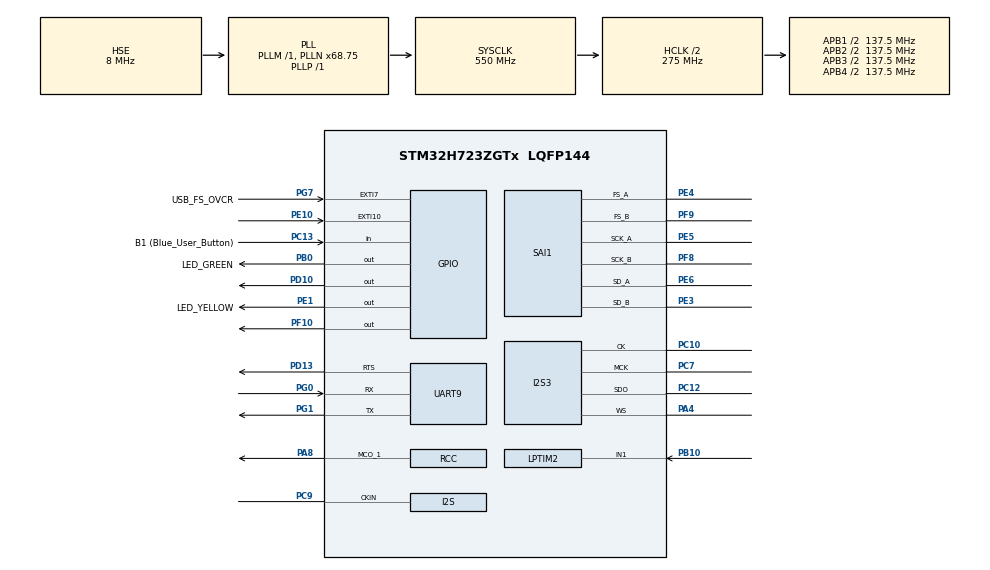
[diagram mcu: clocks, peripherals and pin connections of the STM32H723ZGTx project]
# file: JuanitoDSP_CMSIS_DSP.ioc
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Dma.Request0=SPI3_TX
Dma.Request1=SAI1_A
Dma.Request2=SAI1_B
Dma.SAI1_A.1.Direction=DMA_PERIPH_TO_MEMORY
Dma.SAI1_A.1.EventEnable=DISABLE
Dma.SAI1_A.1.FIFOMode=DMA_FIFOMODE_DISABLE
Dma.SAI1_A.1.Instance=DMA1_Stream2
Dma.SAI1_A.1.MemDataAlignment=DMA_MDATAALIGN_WORD
Dma.SAI1_A.1.MemInc=DMA_MINC_ENABLE
Dma.SAI1_A.1.Mode=DMA_CIRCULAR
Dma.SAI1_A.1.PeriphDataAlignment=DMA_PDATAALIGN_WORD
Dma.SAI1_A.1.PeriphInc=DMA_PINC_DISABLE
Dma.SAI1_A.1.Polarity=HAL_DMAMUX_REQ_GEN_RISING
Dma.SAI1_A.1.Priority=DMA_PRIORITY_HIGH
Dma.SAI1_A.1.RequestNumber=1
Dma.SAI1_A.1.SignalID=NONE
Dma.SAI1_A.1.SyncEnable=DISABLE
Dma.SAI1_A.1.SyncPolarity=HAL_DMAMUX_SYNC_NO_EVENT
Dma.SAI1_A.1.SyncRequestNumber=1
Dma.SAI1_A.1.SyncSignalID=NONE
Dma.SAI1_B.2.Direction=DMA_PERIPH_TO_MEMORY
Dma.SAI1_B.2.EventEnable=DISABLE
Dma.SAI1_B.2.FIFOMode=DMA_FIFOMODE_DISABLE
Dma.SAI1_B.2.Instance=DMA1_Stream1
Dma.SAI1_B.2.MemDataAlignment=DMA_MDATAALIGN_WORD
Dma.SAI1_B.2.MemInc=DMA_MINC_ENABLE
Dma.SAI1_B.2.Mode=DMA_CIRCULAR
Dma.SAI1_B.2.PeriphDataAlignment=DMA_PDATAALIGN_WORD
Dma.SAI1_B.2.PeriphInc=DMA_PINC_DISABLE
Dma.SAI1_B.2.Polarity=HAL_DMAMUX_REQ_GEN_RISING
Dma.SAI1_B.2.Priority=DMA_PRIORITY_HIGH
Dma.SAI1_B.2.RequestNumber=1
Dma.SAI1_B.2.SignalID=NONE
Dma.SAI1_B.2.SyncEnable=DISABLE
Dma.SAI1_B.2.SyncPolarity=HAL_DMAMUX_SYNC_NO_EVENT
Dma.SAI1_B.2.SyncRequestNumber=1
Dma.SAI1_B.2.SyncSignalID=NONE
Dma.SPI3_TX.0.Direction=DMA_MEMORY_TO_PERIPH
Dma.SPI3_TX.0.EventEnable=DISABLE
Dma.SPI3_TX.0.FIFOMode=DMA_FIFOMODE_DISABLE
Dma.SPI3_TX.0.Instance=DMA2_Stream0
Dma.SPI3_TX.0.MemDataAlignment=DMA_MDATAALIGN_HALFWORD
Dma.SPI3_TX.0.MemInc=DMA_MINC_ENABLE
Dma.SPI3_TX.0.Mode=DMA_CIRCULAR
Dma.SPI3_TX.0.PeriphDataAlignment=DMA_PDATAALIGN_HALFWORD
Dma.SPI3_TX.0.PeriphInc=DMA_PINC_DISABLE
Dma.SPI3_TX.0.Polarity=HAL_DMAMUX_REQ_GEN_RISING
Dma.SPI3_TX.0.Priority=DMA_PRIORITY_LOW
Dma.SPI3_TX.0.RequestNumber=1
Dma.SPI3_TX.0.SignalID=NONE
Dma.SPI3_TX.0.SyncEnable=DISABLE
Dma.SPI3_TX.0.SyncPolarity=HAL_DMAMUX_SYNC_NO_EVENT
Dma.SPI3_TX.0.SyncRequestNumber=1
Dma.SPI3_TX.0.SyncSignalID=NONE
I2S3.AudioFreq=I2S_AUDIOFREQ_48K
I2S3.AudioFreqCustom=49000
I2S3.DataFormat=I2S_DATAFORMAT_16B
I2S3.ErrorAudioFreq=0.0 %
I2S3.Instance=SPI$Index
I2S3.RealAudioFreq=48.0 KHz
I2S3.Standard=I2S_STANDARD_MSB
Mcu.Family=STM32H7
Mcu.Name=STM32H723ZGTx
Mcu.Package=LQFP144
NVIC.DMA1_Stream1_IRQn=true\:1\:0\:true\:false\:true\:false\:true\:true
NVIC.DMA2_Stream0_IRQn=true\:1\:0\:true\:false\:true\:false\:true\:true
NVIC.PriorityGroup=NVIC_PRIORITYGROUP_4
NVIC.UART9_IRQn=true\:0\:0\:false\:false\:true\:true\:true\:true
PA1.GPIO_Label=RMII_REF_CLK
PA1.Signal=ETH_REF_CLK
PA10.GPIO_Label=USB_FS_ID
PA10.Signal=USB_OTG_HS_ID
PA13(JTMS/SWDIO).GPIO_Label=SWDIO
PA13(JTMS/SWDIO).Mode=JTAG_5_pins
PA13(JTMS/SWDIO).Signal=DEBUG_JTMS-SWDIO
PA14(JTCK/SWCLK).GPIO_Label=SWCLK
PA14(JTCK/SWCLK).Mode=JTAG_5_pins
PA14(JTCK/SWCLK).Signal=DEBUG_JTCK-SWCLK
PA15(JTDI).Mode=JTAG_5_pins
PA15(JTDI).Signal=DEBUG_JTDI
PA2.GPIO_Label=RMII_MDIO
PA2.Signal=ETH_MDIO
PA4.Mode=Half_Duplex_Master_Tx
PA4.Signal=I2S3_WS
PA6.Signal=S_TIM3_CH1
PA7.GPIO_Label=RMII_CRS_DV
PA7.Signal=ETH_CRS_DV
PA8.Mode=Clock-out-1
PA8.Signal=RCC_MCO_1
PA9.GPIO_Label=USB_FS_VBUS
PA9.Signal=USB_OTG_HS_VBUS
PB0.GPIO_Label=LED_GREEN
PB0.GPIO_Speed=GPIO_SPEED_FREQ_LOW
PB0.Signal=GPIO_Output
PB10.Mode=Counts_external_clock_with_synchro_01_occur1
PB10.Signal=LPTIM2_IN1
PB13.Signal=I2S2_CK
PB14.Signal=I2S2_SDI
PB3(JTDO/TRACESWO).GPIO_Label=SWO
PB3(JTDO/TRACESWO).Mode=JTAG_5_pins
PB3(JTDO/TRACESWO).Signal=DEBUG_JTDO-SWO
PB4(NJTRST).Mode=JTAG_5_pins
PB4(NJTRST).Signal=DEBUG_JTRST
PC1.GPIO_Label=RMII_MDC
PC1.Signal=ETH_MDC
PC10.Mode=Half_Duplex_Master_Tx
PC10.Signal=I2S3_CK
PC12.Mode=Half_Duplex_Master_Tx
PC12.Signal=I2S3_SDO
PC13.GPIO_Label=B1 (Blue_User_Button)
PC13.Signal=GPIO_Input
PC14-OSC32_IN.Signal=RCC_OSC32_IN
PC15-OSC32_OUT.Signal=RCC_OSC32_OUT
PC4.Signal=I2S1_MCK
PC5.GPIO_Label=RMII_RXD1
PC5.Signal=ETH_RXD1
PC7.Mode=Master_Clock_Activated
PC7.Signal=I2S3_MCK
PC9.Mode=Audio_ClockIn
PC9.Signal=I2S_CKIN
PD10.Signal=GPIO_Output
PD13.Mode=RTS_Only
PD13.Signal=UART9_RTS
PD8.GPIO_Label=STLK_VCP_RX
PD8.Signal=USART3_TX
PD9.GPIO_Label=STLK_VCP_TX
PD9.Signal=USART3_RX
PE1.GPIO_Label=LED_YELLOW
PE1.Signal=GPIO_Output
PE10.Signal=GPXTI10
PE3.Mode=SAI_B_Master
PE3.Signal=SAI1_SD_B
PE4.Mode=SAI_A_Master
PE4.Signal=SAI1_FS_A
PE5.Mode=SAI_A_Master
PE5.Signal=SAI1_SCK_A
PE6.Mode=SAI_A_Master
PE6.Signal=SAI1_SD_A
PF10.Signal=GPIO_Output
PF8.Mode=SAI_B_Master
PF8.Signal=SAI1_SCK_B
PF9.Mode=SAI_B_Master
PF9.Signal=SAI1_FS_B
PG0.Mode=Asynchronous
PG0.Signal=UART9_RX
PG1.Mode=Asynchronous
PG1.Signal=UART9_TX
PG11.Signal=I2S1_CK
PG13.GPIO_Label=RMII_TXD0
PG13.Signal=ETH_TXD0
PG7.GPIO_Label=USB_FS_OVCR
PG7.Signal=GPXTI7
PG9.Signal=I2S1_SDI
PH0-OSC_IN.GPIO_Label=MCO
PH0-OSC_IN.Mode=HSE-External-Oscillator
PH0-OSC_IN.Signal=RCC_OSC_IN
PH1-OSC_OUT.Mode=HSE-External-Oscillator
PH1-OSC_OUT.Signal=RCC_OSC_OUT
ProjectManager.HeapSize=0x200
ProjectManager.StackSize=0x400
ProjectManager.TargetToolchain=STM32CubeIDE
RCC.ADCCLockSelection=RCC_ADCCLKSOURCE_PLL2
RCC.ADCFreq_Value=128000000
RCC.APB1Freq_Value=137500000
RCC.APB2Freq_Value=137500000
RCC.APB3Freq_Value=137500000
RCC.APB4Freq_Value=137500000
RCC.CECCLockSelection=RCC_CECCLKSOURCE_LSI
RCC.CSI_VALUE=4000000
RCC.CortexFreq_Value=550000000
RCC.Cortex_DivARG=SystemCoreClock/1000
RCC.D1PPRE=RCC_APB3_DIV2
RCC.D2PPRE1=RCC_APB1_DIV2
RCC.D2PPRE2=RCC_APB2_DIV2
RCC.D3PPRE=RCC_APB4_DIV2
RCC.DFSDMCLockSelection=RCC_DFSDM1CLKSOURCE_D2PCLK1
RCC.DIVM1=1
RCC.DIVM2=1
RCC.DIVM3=5
RCC.DIVN1=68
RCC.DIVN2=32
RCC.DIVN3=192
RCC.DIVP1=1
RCC.DIVP3=25
RCC.DIVQ1=3
RCC.DIVQ3=25
RCC.EXTERNAL_CLOCK_VALUE=12288000
RCC.FDCANCLockSelection=RCC_FDCANCLKSOURCE_PLL
RCC.FMCCLockSelection=RCC_FMCCLKSOURCE_D1HCLK
RCC.HCLKFreq_Value=275000000
RCC.HPRE=RCC_HCLK_DIV2
RCC.HSE_VALUE=8000000
RCC.HSI48_VALUE=48000000
RCC.HSI_VALUE=64000000
RCC.I2C123CLockSelection=RCC_I2C1235CLKSOURCE_D2PCLK1
RCC.I2C4CLockSelection=RCC_I2C4CLKSOURCE_D3PCLK1
RCC.LPTIM1CLockSelection=RCC_LPTIM1CLKSOURCE_D2PCLK1
RCC.LPTIM2CLockSelection=RCC_LPTIM2CLKSOURCE_D3PCLK1
RCC.LPTIM345CLockSelection=RCC_LPTIM345CLKSOURCE_D3PCLK1
RCC.LPUART1CLockSelection=RCC_LPUART1CLKSOURCE_D3PCLK1
RCC.PLL1_VCO_SEL-AdvancedSettings=RCC_PLL1VCOMEDIUM
RCC.PLL2FRACN=0
RCC.PLL2_VCO_SEL-AdvancedSettings=RCC_PLL2VCOMEDIUM
RCC.PLL3FRACN=0
RCC.PLLFRACN=6144
RCC.PLLSourceVirtual=RCC_PLLSOURCE_HSE
RCC.QSPICLockSelection=RCC_OSPICLKSOURCE_D1HCLK
RCC.RCC_MCO1Source=RCC_MCO1SOURCE_HSI48
RCC.RCC_MCO2Source=RCC_MCO2SOURCE_PLL2PCLK
RCC.RCC_MCODiv2=RCC_MCODIV_10
RCC.RNGCLockSelection=RCC_RNGCLKSOURCE_HSI48
RCC.SAI1CLockSelection=RCC_SAI1CLKSOURCE_PIN
RCC.SAI4ACLockSelection=RCC_SAI4ACLKSOURCE_PLL3
RCC.SAI4BCLockSelection=RCC_SAI4BCLKSOURCE_PLL
RCC.SPDIFCLockSelection=RCC_SPDIFRXCLKSOURCE_PLL
RCC.SPI123CLockSelection=RCC_SPI123CLKSOURCE_PIN
RCC.SPI6CLockSelection=RCC_SPI6CLKSOURCE_PLL3
RCC.SWPCLockSelection=RCC_SWPMI1CLKSOURCE_D2PCLK1
RCC.SYSCLKFreq_VALUE=550000000
RCC.SYSCLKSource=RCC_SYSCLKSOURCE_PLLCLK
RCC.Spi45ClockSelection=RCC_SPI45CLKSOURCE_D2PCLK1
RCC.USART16CLockSelection=RCC_USART16910CLKSOURCE_D2PCLK2
RCC.USART234578CLockSelection=RCC_USART234578CLKSOURCE_D2PCLK1
RCC.USBCLockSelection=RCC_USBCLKSOURCE_HSI48
RCC.USBFreq_Value=48000000
SAI1.AudioFrequency-SAI_A_Master=SAI_AUDIO_FREQUENCY_48K
SAI1.AudioFrequency-SAI_B_Master=SAI_AUDIO_FREQUENCY_48K
SAI1.AudioMode-SAI_A_Master=SAI_MODEMASTER_RX
SAI1.AudioMode-SAI_B_Master=SAI_MODEMASTER_RX
SAI1.BasicDataSize-SAI_A_Master=SAI_PROTOCOL_DATASIZE_32BIT
SAI1.BasicDataSize-SAI_B_Master=SAI_PROTOCOL_DATASIZE_32BIT
SAI1.ErrorAudioFreq-SAI_A_Master=0.0 %
SAI1.ErrorAudioFreq-SAI_B_Master=0.0 %
SAI1.InitProtocol-SAI_A_Master=Enable
SAI1.InitProtocol-SAI_B_Master=Enable
SAI1.Instance-SAI_A_Master=SAI$Index_Block_A
SAI1.Instance-SAI_B_Master=SAI$Index_Block_B
SAI1.MckOutput-SAI_A_Master=SAI_MCK_OUTPUT_DISABLE
SAI1.MckOutput-SAI_B_Master=SAI_MCK_OUTPUT_DISABLE
SAI1.RealAudioFreq-SAI_A_Master=48.0 KHz
SAI1.RealAudioFreq-SAI_B_Master=48.0 KHz
SAI1.VirtualMode-SAI_A_Master=VM_MASTER
SAI1.VirtualMode-SAI_B_Master=VM_MASTER
SAI1.VirtualProtocol-SAI_A_BASIC=VM_BASIC_PROTOCOL
SAI1.VirtualProtocol-SAI_B_BASIC=VM_BASIC_PROTOCOL
SH.S_TIM3_CH1.0=TIM3_CH1
STMicroelectronics.X-CUBE-ALGOBUILD.1.3.0.LibraryCcDSPOoLibraryJjDSPOoLibrary=true
VP_MEMORYMAP_VS_MEMORYMAP.Mode=CurAppReg
VP_SAI1_VP_$IpInstance_SAIA_SAI_BASIC.Mode=SAI_A_BASIC
VP_SAI1_VP_$IpInstance_SAIB_SAI_BASIC.Mode=SAI_B_BASIC
VP_STMicroelectronics.X-CUBE-ALGOBUILD_VS_DSPOoLibraryJjLibrary_1.3.0_1.3.0.Mode=DSPOoLibraryJjLibrary
board=NUCLEO-H723ZG

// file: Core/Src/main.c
/* USER CODE BEGIN Header */
/**
  ******************************************************************************
  * @file           : main.c
  * @brief          : Main program body
  ******************************************************************************
  * @attention
  *
  * Copyright (c) 2023 STMicroelectronics.
  * All rights reserved.
  *
  * This software is licensed under terms that can be found in the LICENSE file
  * in the root directory of this software component.
  * If no LICENSE file comes with this software, it is provided AS-IS.
  *
  ******************************************************************************
  */
/* USER CODE END Header */
#include "main.h"

/* USER CODE BEGIN Includes */
#include <stdint.h>
#include <stdio.h>
#include <limits.h>
#include "bluetooth.h"
#ifndef DSP_H
#include "dsp.h"
#endif
#ifndef GLOBAL_H
#include "global.h"
#endif

// #include "arm_math.h"

/* USER CODE END Includes */

/* USER CODE BEGIN PD */
#define BUF_BEGIN 0
#define BUF_HALF (BUFFER_SIZE/2)
#define TIMER_RES 8 // Timer events per sample (resolution)
#define HEALTH_CHECK_PERIOD 200
/* USER CODE END PD */

/* USER CODE BEGIN PM */
#define SET_TO_RAMD2   __attribute__ ((section (".RAMD2_data")))
#define SET_TO_ITCMRAM __attribute__ ((section (".ITCMRAM_data")))
#define SET_TO_DTCMRAM __attribute__ ((section (".DTCMRAM_data")))
/* USER CODE END PM */

I2S_HandleTypeDef hi2s3;
DMA_HandleTypeDef hdma_spi3_tx;

LPTIM_HandleTypeDef hlptim2;

SAI_HandleTypeDef hsai_BlockA1;
SAI_HandleTypeDef hsai_BlockB1;
DMA_HandleTypeDef hdma_sai1_a;
DMA_HandleTypeDef hdma_sai1_b;

UART_HandleTypeDef huart9;

/* USER CODE BEGIN PV */

typedef union // Union for mixed-type buffers
{
  float f32;
  int16_t q15;
  int32_t q31;
} tUnionBuf;

static enum
{
  INPUT0 = 0,
  INPUT1 = 1,
  INPUT2 = 2,
  INPUT3 = 3
}inputID;

static enum
{
  OUTPUT0 = 0,
  OUTPUT1 = 1,
  OUTPUT2 = 2,
  OUTPUT3 = 3
}outputID;

// ****************** INPUT, OUTPUT AND PROCESSING BUFFERS *********************
static int32_t input[INPUT_QUANTITY][BUFFER_SIZE*2] SET_TO_RAMD2;  //  IN buffer (Stereo PCM)
static int16_t output[OUTPUT_QUANTITY][BUFFER_SIZE*2] SET_TO_RAMD2;//  OUT buffer (Stereo PCM)
static tUnionBuf general[MAX_CHANNELS][BUFFER_SIZE] SET_TO_ITCMRAM;//  General channels (MONO)

// ***************** Convolution instances *************************************
static tConvq15 convq15[MAX_CONV] SET_TO_DTCMRAM;

// ***************** FIR instances *********************************************
static tFIRf32 FIRf32[MAX_FILTERS] SET_TO_DTCMRAM;
static tFIRq15 FIRq15[MAX_FILTERS] SET_TO_DTCMRAM;

// ***************** FIR arm_math.h instances **********************************
static arm_fir_instance_f32 insFIRf32[MAX_FILTERS] SET_TO_DTCMRAM;
static arm_fir_instance_q15 insFIRq15[MAX_FILTERS] SET_TO_DTCMRAM;

// ***************** Anti saturation pre-IIR gain ******************************
static tGain normGain[MAX_CHANNELS] SET_TO_DTCMRAM;

// ***************** IIR 2nd order biquads *************************************
static tIIRf32 IIRf32[MAX_FILTERS] SET_TO_DTCMRAM;    // IIR 2nd order instance
static tIIRq15 IIRq15[MAX_FILTERS] SET_TO_DTCMRAM;    // IIR 2nd order instance
static tIIRq31 IIRq31[MAX_FILTERS] SET_TO_DTCMRAM;    // IIR 2nd order instance
static tFilterConfig filterConfig[MAX_FILTERS]; // IIR 2nd order config params

// ************** IIR arm_math.h 2nd order biquads pointer instance ************
static arm_biquad_cascade_df2T_instance_f32 insIIRf32[MAX_FILTERS] SET_TO_DTCMRAM;
static arm_biquad_casd_df1_inst_q15 insIIRq15[MAX_FILTERS] SET_TO_DTCMRAM;
static arm_biquad_casd_df1_inst_q31 insIIRq31[MAX_FILTERS] SET_TO_DTCMRAM;

// ***************** BT module UART buffers & variables ************************
static SET_TO_DTCMRAM char uartRx[UART_CHUNK_SIZE];
static SET_TO_DTCMRAM char uartTx[UART_CHUNK_SIZE];
static SET_TO_DTCMRAM char *pUartRx = &uartRx[0];
static SET_TO_DTCMRAM tUartSt uartSt;
static SET_TO_DTCMRAM uint16_t bytesToCpltUartRx = 0;

static struct
{
  uint16_t len;
  tRxCommand command;
} msg;

static enum
{
  WAIT_RX,
  NEW_MSG,
  SENDING
} uartFSM;

static enum
{
  WAITING,
  FINISHED
} uartRxCpltFlag, uartTxCpltFlag;

// ********************** APP LOGIC STATE VARIABLES ****************************
static SET_TO_DTCMRAM tErrorCode appError;
static SET_TO_DTCMRAM uint8_t filterConfigFlag = 0; // 0 = configured, 1 = new config received
static SET_TO_DTCMRAM uint16_t timerCount = 0;   // Performance monitor timer
static SET_TO_DTCMRAM float cpuUsage = 0;        // CPU real-time usage (%)
static uint8_t cpuOverload = 0;   // Active when processing couldnt be completed in time
static SET_TO_DTCMRAM uint16_t nSamples = BUF_HALF;
static SET_TO_DTCMRAM uint16_t bufSize = BUFFER_SIZE;
static SET_TO_DTCMRAM uint16_t healthCheckCounter = 0;

static enum
{
  EMPTY,
  HALF_FULL,
  FULL
}inputBufCplt; // STATES OF AUDIO PROCESSING FINITE STATE MACHINE

// *****************************************************************************

/* USER CODE END PV */

void SystemClock_Config(void);
static void MX_GPIO_Init(void);
static void MX_DMA_Init(void);
static void MX_I2S3_Init(void);
static void MX_SAI1_Init(void);
static void MX_UART9_Init(void);
static void MX_LPTIM2_Init(void);
/* USER CODE BEGIN PFP */
static tErrorCode AppInit(void);
static void CacheInit(void);
static tErrorCode CheckParams(void);
static tErrorCode ProcessData(void);
static tErrorCode CheckConfig(void);
static tErrorCode ManageUART(void);
static tErrorCode CheckSysHealth(void);
/* USER CODE END PFP */

int main(void)
{

  /* MCU Configuration--------------------------------------------------------*/

  /* Reset of all peripherals, Initializes the Flash interface and the Systick. */
  HAL_Init();

  /* Configure the system clock */
  SystemClock_Config();

  /* USER CODE BEGIN SysInit */
  AppInit();
  DSP_TestFilters(filterConfig);
  CacheInit();

  /* USER CODE END SysInit */

  /* Initialize all configured peripherals */
  MX_GPIO_Init();
  MX_DMA_Init();
  MX_I2S3_Init();
  MX_SAI1_Init();
  MX_UART9_Init();
  MX_LPTIM2_Init();
  /* USER CODE BEGIN 2 */
    // **************** Init DMA for audio IOs *********************************
    // Wired input
    HAL_SAI_Receive_DMA(&hsai_BlockB1, (uint8_t*) &input[INPUT0][BUF_BEGIN],
                        BUFFER_SIZE * 2);
    // Bluetooth input
    HAL_SAI_Receive_DMA(&hsai_BlockA1, (uint8_t*) &input[INPUT1][BUF_BEGIN],
                        BUFFER_SIZE * 2);
    // Wired output
    HAL_I2S_Transmit_DMA(&hi2s3, (uint16_t*) &output[OUTPUT0][BUF_BEGIN],
                         BUFFER_SIZE * 2);

    // **************** INIT UART AND BT COMMUNICATION *************************
    HAL_UARTEx_ReceiveToIdle_IT(&huart9, (uint8_t*)uartRx, UART_CHUNK_SIZE);
    // BT_Init(); // Initialize BT communication

    // **************** INIT TIMER COUNTER FOR CPU USAGE MONITOR ***************
    HAL_LPTIM_Counter_Start(&hlptim2, TIMER_RES * BUF_HALF);

    // **************** INIT APP STATE VARIABLES *******************************
    if (RES_OK != AppInit()) goto error;

  /* USER CODE END 2 */

  /* Infinite loop */
  /* USER CODE BEGIN WHILE */
    while (1)
    {
      if (RES_OK != ManageUART())     goto error;
      if (RES_OK != CheckConfig())    goto error;
      if (RES_OK != CheckSysHealth()) goto error;
      if (RES_OK != ProcessData())    goto error;
    }
    /* USER CODE END WHILE */

    /* USER CODE BEGIN 3 */
    error:
      Error_Handler();
  /* USER CODE END 3 */
}

void SystemClock_Config(void)
{
  RCC_OscInitTypeDef RCC_OscInitStruct = {0};
  RCC_ClkInitTypeDef RCC_ClkInitStruct = {0};

  /** Supply configuration update enable
  */
  HAL_PWREx_ConfigSupply(PWR_LDO_SUPPLY);

  /** Configure the main internal regulator output voltage
  */
  __HAL_PWR_VOLTAGESCALING_CONFIG(PWR_REGULATOR_VOLTAGE_SCALE0);

  while(!__HAL_PWR_GET_FLAG(PWR_FLAG_VOSRDY)) {}

  /** Initializes the RCC Oscillators according to the specified parameters
  * in the RCC_OscInitTypeDef structure.
  */
  RCC_OscInitStruct.OscillatorType = RCC_OSCILLATORTYPE_HSI48|RCC_OSCILLATORTYPE_HSE;
  RCC_OscInitStruct.HSEState = RCC_HSE_ON;
  RCC_OscInitStruct.HSI48State = RCC_HSI48_ON;
  RCC_OscInitStruct.PLL.PLLState = RCC_PLL_ON;
  RCC_OscInitStruct.PLL.PLLSource = RCC_PLLSOURCE_HSE;
  RCC_OscInitStruct.PLL.PLLM = 1;
  RCC_OscInitStruct.PLL.PLLN = 68;
  RCC_OscInitStruct.PLL.PLLP = 1;
  RCC_OscInitStruct.PLL.PLLQ = 3;
  RCC_OscInitStruct.PLL.PLLR = 2;
  RCC_OscInitStruct.PLL.PLLRGE = RCC_PLL1VCIRANGE_3;
  RCC_OscInitStruct.PLL.PLLVCOSEL = RCC_PLL1VCOWIDE;
  RCC_OscInitStruct.PLL.PLLFRACN = 6144;
  if (HAL_RCC_OscConfig(&RCC_OscInitStruct) != HAL_OK)
  {
    Error_Handler();
  }

  /** Initializes the CPU, AHB and APB buses clocks
  */
  RCC_ClkInitStruct.ClockType = RCC_CLOCKTYPE_HCLK|RCC_CLOCKTYPE_SYSCLK
                              |RCC_CLOCKTYPE_PCLK1|RCC_CLOCKTYPE_PCLK2
                              |RCC_CLOCKTYPE_D3PCLK1|RCC_CLOCKTYPE_D1PCLK1;
  RCC_ClkInitStruct.SYSCLKSource = RCC_SYSCLKSOURCE_PLLCLK;
  RCC_ClkInitStruct.SYSCLKDivider = RCC_SYSCLK_DIV1;
  RCC_ClkInitStruct.AHBCLKDivider = RCC_HCLK_DIV2;
  RCC_ClkInitStruct.APB3CLKDivider = RCC_APB3_DIV2;
  RCC_ClkInitStruct.APB1CLKDivider = RCC_APB1_DIV2;
  RCC_ClkInitStruct.APB2CLKDivider = RCC_APB2_DIV2;
  RCC_ClkInitStruct.APB4CLKDivider = RCC_APB4_DIV2;

  if (HAL_RCC_ClockConfig(&RCC_ClkInitStruct, FLASH_LATENCY_3) != HAL_OK)
  {
    Error_Handler();
  }
  HAL_RCC_MCOConfig(RCC_MCO1, RCC_MCO1SOURCE_HSI48, RCC_MCODIV_1);
}

static void MX_I2S3_Init(void)
{

  hi2s3.Instance = SPI3;
  hi2s3.Init.Mode = I2S_MODE_MASTER_TX;
  hi2s3.Init.Standard = I2S_STANDARD_MSB;
  hi2s3.Init.DataFormat = I2S_DATAFORMAT_16B;
  hi2s3.Init.MCLKOutput = I2S_MCLKOUTPUT_ENABLE;
  hi2s3.Init.AudioFreq = I2S_AUDIOFREQ_48K;
  hi2s3.Init.CPOL = I2S_CPOL_LOW;
  hi2s3.Init.FirstBit = I2S_FIRSTBIT_MSB;
  hi2s3.Init.WSInversion = I2S_WS_INVERSION_DISABLE;
  hi2s3.Init.Data24BitAlignment = I2S_DATA_24BIT_ALIGNMENT_RIGHT;
  hi2s3.Init.MasterKeepIOState = I2S_MASTER_KEEP_IO_STATE_DISABLE;
  if (HAL_I2S_Init(&hi2s3) != HAL_OK)
  {
    Error_Handler();
  }

}

static void MX_LPTIM2_Init(void)
{

  hlptim2.Instance = LPTIM2;
  hlptim2.Init.Clock.Source = LPTIM_CLOCKSOURCE_APBCLOCK_LPOSC;
  hlptim2.Init.Clock.Prescaler = LPTIM_PRESCALER_DIV1;
  hlptim2.Init.UltraLowPowerClock.Polarity = LPTIM_CLOCKPOLARITY_RISING;
  hlptim2.Init.UltraLowPowerClock.SampleTime = LPTIM_CLOCKSAMPLETIME_DIRECTTRANSITION;
  hlptim2.Init.Trigger.Source = LPTIM_TRIGSOURCE_SOFTWARE;
  hlptim2.Init.OutputPolarity = LPTIM_OUTPUTPOLARITY_HIGH;
  hlptim2.Init.UpdateMode = LPTIM_UPDATE_IMMEDIATE;
  hlptim2.Init.CounterSource = LPTIM_COUNTERSOURCE_EXTERNAL;
  hlptim2.Init.Input1Source = LPTIM_INPUT1SOURCE_GPIO;
  hlptim2.Init.Input2Source = LPTIM_INPUT2SOURCE_GPIO;
  if (HAL_LPTIM_Init(&hlptim2) != HAL_OK)
  {
    Error_Handler();
  }

}

static void MX_SAI1_Init(void)
{

  hsai_BlockA1.Instance = SAI1_Block_A;
  hsai_BlockA1.Init.AudioMode = SAI_MODEMASTER_RX;
  hsai_BlockA1.Init.Synchro = SAI_ASYNCHRONOUS;
  hsai_BlockA1.Init.OutputDrive = SAI_OUTPUTDRIVE_DISABLE;
  hsai_BlockA1.Init.NoDivider = SAI_MASTERDIVIDER_ENABLE;
  hsai_BlockA1.Init.FIFOThreshold = SAI_FIFOTHRESHOLD_EMPTY;
  hsai_BlockA1.Init.AudioFrequency = SAI_AUDIO_FREQUENCY_48K;
  hsai_BlockA1.Init.SynchroExt = SAI_SYNCEXT_DISABLE;
  hsai_BlockA1.Init.MonoStereoMode = SAI_STEREOMODE;
  hsai_BlockA1.Init.CompandingMode = SAI_NOCOMPANDING;
  if (HAL_SAI_InitProtocol(&hsai_BlockA1, SAI_I2S_STANDARD, SAI_PROTOCOL_DATASIZE_32BIT, 2) != HAL_OK)
  {
    Error_Handler();
  }
  hsai_BlockB1.Instance = SAI1_Block_B;
  hsai_BlockB1.Init.AudioMode = SAI_MODEMASTER_RX;
  hsai_BlockB1.Init.Synchro = SAI_ASYNCHRONOUS;
  hsai_BlockB1.Init.OutputDrive = SAI_OUTPUTDRIVE_DISABLE;
  hsai_BlockB1.Init.NoDivider = SAI_MASTERDIVIDER_ENABLE;
  hsai_BlockB1.Init.FIFOThreshold = SAI_FIFOTHRESHOLD_EMPTY;
  hsai_BlockB1.Init.AudioFrequency = SAI_AUDIO_FREQUENCY_48K;
  hsai_BlockB1.Init.SynchroExt = SAI_SYNCEXT_DISABLE;
  hsai_BlockB1.Init.MonoStereoMode = SAI_STEREOMODE;
  hsai_BlockB1.Init.CompandingMode = SAI_NOCOMPANDING;
  if (HAL_SAI_InitProtocol(&hsai_BlockB1, SAI_I2S_STANDARD, SAI_PROTOCOL_DATASIZE_32BIT, 2) != HAL_OK)
  {
    Error_Handler();
  }

}

static void MX_UART9_Init(void)
{

  huart9.Instance = UART9;
  huart9.Init.BaudRate = 115200;
  huart9.Init.WordLength = UART_WORDLENGTH_8B;
  huart9.Init.StopBits = UART_STOPBITS_1;
  huart9.Init.Parity = UART_PARITY_NONE;
  huart9.Init.Mode = UART_MODE_TX_RX;
  huart9.Init.HwFlowCtl = UART_HWCONTROL_RTS;
  huart9.Init.OverSampling = UART_OVERSAMPLING_16;
  huart9.Init.OneBitSampling = UART_ONE_BIT_SAMPLE_DISABLE;
  huart9.Init.ClockPrescaler = UART_PRESCALER_DIV1;
  huart9.AdvancedInit.AdvFeatureInit = UART_ADVFEATURE_NO_INIT;
  if (HAL_UART_Init(&huart9) != HAL_OK)
  {
    Error_Handler();
  }
  if (HAL_UARTEx_SetTxFifoThreshold(&huart9, UART_TXFIFO_THRESHOLD_1_8) != HAL_OK)
  {
    Error_Handler();
  }
  if (HAL_UARTEx_SetRxFifoThreshold(&huart9, UART_RXFIFO_THRESHOLD_1_8) != HAL_OK)
  {
    Error_Handler();
  }
  if (HAL_UARTEx_DisableFifoMode(&huart9) != HAL_OK)
  {
    Error_Handler();
  }

}

static void MX_DMA_Init(void)
{

  /* DMA controller clock enable */
  __HAL_RCC_DMA2_CLK_ENABLE();
  __HAL_RCC_DMA1_CLK_ENABLE();

  /* DMA interrupt init */
  /* DMA1_Stream1_IRQn interrupt configuration */
  HAL_NVIC_SetPriority(DMA1_Stream1_IRQn, 1, 0);
  HAL_NVIC_EnableIRQ(DMA1_Stream1_IRQn);
  /* DMA2_Stream0_IRQn interrupt configuration */
  HAL_NVIC_SetPriority(DMA2_Stream0_IRQn, 1, 0);
  HAL_NVIC_EnableIRQ(DMA2_Stream0_IRQn);

}

static void MX_GPIO_Init(void)
{
  GPIO_InitTypeDef GPIO_InitStruct = {0};

  /* GPIO Ports Clock Enable */
  __HAL_RCC_GPIOE_CLK_ENABLE();
  __HAL_RCC_GPIOC_CLK_ENABLE();
  __HAL_RCC_GPIOF_CLK_ENABLE();
  __HAL_RCC_GPIOH_CLK_ENABLE();
  __HAL_RCC_GPIOA_CLK_ENABLE();
  __HAL_RCC_GPIOB_CLK_ENABLE();
  __HAL_RCC_GPIOG_CLK_ENABLE();
  __HAL_RCC_GPIOD_CLK_ENABLE();

  /*Configure GPIO pin Output Level */
  HAL_GPIO_WritePin(GPIOF, GPIO_PIN_10, GPIO_PIN_RESET);

  /*Configure GPIO pin Output Level */
  HAL_GPIO_WritePin(LED_GREEN_GPIO_Port, LED_GREEN_Pin, GPIO_PIN_RESET);

  /*Configure GPIO pin Output Level */
  HAL_GPIO_WritePin(GPIOD, GPIO_PIN_10, GPIO_PIN_RESET);

  /*Configure GPIO pin Output Level */
  HAL_GPIO_WritePin(LED_YELLOW_GPIO_Port, LED_YELLOW_Pin, GPIO_PIN_RESET);

  /*Configure GPIO pin : B1_Pin */
  GPIO_InitStruct.Pin = B1_Pin;
  GPIO_InitStruct.Mode = GPIO_MODE_INPUT;
  GPIO_InitStruct.Pull = GPIO_NOPULL;
  HAL_GPIO_Init(B1_GPIO_Port, &GPIO_InitStruct);

  /*Configure GPIO pin : PF10 */
  GPIO_InitStruct.Pin = GPIO_PIN_10;
  GPIO_InitStruct.Mode = GPIO_MODE_OUTPUT_PP;
  GPIO_InitStruct.Pull = GPIO_NOPULL;
  GPIO_InitStruct.Speed = GPIO_SPEED_FREQ_LOW;
  HAL_GPIO_Init(GPIOF, &GPIO_InitStruct);

  /*Configure GPIO pins : RMII_MDC_Pin RMII_RXD1_Pin */
  GPIO_InitStruct.Pin = RMII_MDC_Pin|RMII_RXD1_Pin;
  GPIO_InitStruct.Mode = GPIO_MODE_AF_PP;
  GPIO_InitStruct.Pull = GPIO_NOPULL;
  GPIO_InitStruct.Speed = GPIO_SPEED_FREQ_LOW;
  GPIO_InitStruct.Alternate = GPIO_AF11_ETH;
  HAL_GPIO_Init(GPIOC, &GPIO_InitStruct);

  /*Configure GPIO pins : RMII_REF_CLK_Pin RMII_MDIO_Pin RMII_CRS_DV_Pin */
  GPIO_InitStruct.Pin = RMII_REF_CLK_Pin|RMII_MDIO_Pin|RMII_CRS_DV_Pin;
  GPIO_InitStruct.Mode = GPIO_MODE_AF_PP;
  GPIO_InitStruct.Pull = GPIO_NOPULL;
  GPIO_InitStruct.Speed = GPIO_SPEED_FREQ_LOW;
  GPIO_InitStruct.Alternate = GPIO_AF11_ETH;
  HAL_GPIO_Init(GPIOA, &GPIO_InitStruct);

  /*Configure GPIO pin : PA6 */
  GPIO_InitStruct.Pin = GPIO_PIN_6;
  GPIO_InitStruct.Mode = GPIO_MODE_AF_PP;
  GPIO_InitStruct.Pull = GPIO_NOPULL;
  GPIO_InitStruct.Speed = GPIO_SPEED_FREQ_LOW;
  GPIO_InitStruct.Alternate = GPIO_AF2_TIM3;
  HAL_GPIO_Init(GPIOA, &GPIO_InitStruct);

  /*Configure GPIO pins : PC4 PC9 */
  GPIO_InitStruct.Pin = GPIO_PIN_4|GPIO_PIN_9;
  GPIO_InitStruct.Mode = GPIO_MODE_AF_PP;
  GPIO_InitStruct.Pull = GPIO_NOPULL;
  GPIO_InitStruct.Speed = GPIO_SPEED_FREQ_LOW;
  GPIO_InitStruct.Alternate = GPIO_AF5_SPI1;
  HAL_GPIO_Init(GPIOC, &GPIO_InitStruct);

  /*Configure GPIO pin : LED_GREEN_Pin */
  GPIO_InitStruct.Pin = LED_GREEN_Pin;
  GPIO_InitStruct.Mode = GPIO_MODE_OUTPUT_PP;
  GPIO_InitStruct.Pull = GPIO_NOPULL;
  GPIO_InitStruct.Speed = GPIO_SPEED_FREQ_LOW;
  HAL_GPIO_Init(LED_GREEN_GPIO_Port, &GPIO_InitStruct);

  /*Configure GPIO pin : PE10 */
  GPIO_InitStruct.Pin = GPIO_PIN_10;
  GPIO_InitStruct.Mode = GPIO_MODE_IT_RISING;
  GPIO_InitStruct.Pull = GPIO_NOPULL;
  HAL_GPIO_Init(GPIOE, &GPIO_InitStruct);

  /*Configure GPIO pins : PB13 PB14 */
  GPIO_InitStruct.Pin = GPIO_PIN_13|GPIO_PIN_14;
  GPIO_InitStruct.Mode = GPIO_MODE_AF_PP;
  GPIO_InitStruct.Pull = GPIO_NOPULL;
  GPIO_InitStruct.Speed = GPIO_SPEED_FREQ_LOW;
  GPIO_InitStruct.Alternate = GPIO_AF5_SPI2;
  HAL_GPIO_Init(GPIOB, &GPIO_InitStruct);

  /*Configure GPIO pins : STLK_VCP_RX_Pin STLK_VCP_TX_Pin */
  GPIO_InitStruct.Pin = STLK_VCP_RX_Pin|STLK_VCP_TX_Pin;
  GPIO_InitStruct.Mode = GPIO_MODE_AF_PP;
  GPIO_InitStruct.Pull = GPIO_NOPULL;
  GPIO_InitStruct.Speed = GPIO_SPEED_FREQ_LOW;
  GPIO_InitStruct.Alternate = GPIO_AF7_USART3;
  HAL_GPIO_Init(GPIOD, &GPIO_InitStruct);

  /*Configure GPIO pin : PD10 */
  GPIO_InitStruct.Pin = GPIO_PIN_10;
  GPIO_InitStruct.Mode = GPIO_MODE_OUTPUT_PP;
  GPIO_InitStruct.Pull = GPIO_NOPULL;
  GPIO_InitStruct.Speed = GPIO_SPEED_FREQ_LOW;
  HAL_GPIO_Init(GPIOD, &GPIO_InitStruct);

  /*Configure GPIO pin : USB_FS_OVCR_Pin */
  GPIO_InitStruct.Pin = USB_FS_OVCR_Pin;
  GPIO_InitStruct.Mode = GPIO_MODE_IT_RISING;
  GPIO_InitStruct.Pull = GPIO_NOPULL;
  HAL_GPIO_Init(USB_FS_OVCR_GPIO_Port, &GPIO_InitStruct);

  /*Configure GPIO pin : PA8 */
  GPIO_InitStruct.Pin = GPIO_PIN_8;
  GPIO_InitStruct.Mode = GPIO_MODE_AF_PP;
  GPIO_InitStruct.Pull = GPIO_NOPULL;
  GPIO_InitStruct.Speed = GPIO_SPEED_FREQ_LOW;
  GPIO_InitStruct.Alternate = GPIO_AF0_MCO;
  HAL_GPIO_Init(GPIOA, &GPIO_InitStruct);

  /*Configure GPIO pin : USB_FS_ID_Pin */
  GPIO_InitStruct.Pin = USB_FS_ID_Pin;
  GPIO_InitStruct.Mode = GPIO_MODE_AF_PP;
  GPIO_InitStruct.Pull = GPIO_NOPULL;
  GPIO_InitStruct.Speed = GPIO_SPEED_FREQ_LOW;
  GPIO_InitStruct.Alternate = GPIO_AF10_OTG1_HS;
  HAL_GPIO_Init(USB_FS_ID_GPIO_Port, &GPIO_InitStruct);

  /*Configure GPIO pins : PG9 PG11 */
  GPIO_InitStruct.Pin = GPIO_PIN_9|GPIO_PIN_11;
  GPIO_InitStruct.Mode = GPIO_MODE_AF_PP;
  GPIO_InitStruct.Pull = GPIO_NOPULL;
  GPIO_InitStruct.Speed = GPIO_SPEED_FREQ_LOW;
  GPIO_InitStruct.Alternate = GPIO_AF5_SPI1;
  HAL_GPIO_Init(GPIOG, &GPIO_InitStruct);

  /*Configure GPIO pin : RMII_TXD0_Pin */
  GPIO_InitStruct.Pin = RMII_TXD0_Pin;
  GPIO_InitStruct.Mode = GPIO_MODE_AF_PP;
  GPIO_InitStruct.Pull = GPIO_NOPULL;
  GPIO_InitStruct.Speed = GPIO_SPEED_FREQ_LOW;
  GPIO_InitStruct.Alternate = GPIO_AF11_ETH;
  HAL_GPIO_Init(RMII_TXD0_GPIO_Port, &GPIO_InitStruct);

  /*Configure GPIO pin : LED_YELLOW_Pin */
  GPIO_InitStruct.Pin = LED_YELLOW_Pin;
  GPIO_InitStruct.Mode = GPIO_MODE_OUTPUT_PP;
  GPIO_InitStruct.Pull = GPIO_NOPULL;
  GPIO_InitStruct.Speed = GPIO_SPEED_FREQ_LOW;
  HAL_GPIO_Init(LED_YELLOW_GPIO_Port, &GPIO_InitStruct);

}

/* USER CODE BEGIN 4 */
// *****************************************************************************
void HAL_SAI_RxHalfCpltCallback(SAI_HandleTypeDef *hsai_BlockB1)
// *****************************************************************************
// Description: Callback for half buffer completion
// Parameters: i2s handle
// Returns: nothing
// *****************************************************************************
{
    // HAL_GPIO_TogglePin(LED_YELLOW_GPIO_Port, LED_YELLOW_Pin);
    if (EMPTY == inputBufCplt) inputBufCplt = HALF_FULL;
    else cpuOverload = 1;
}

// *****************************************************************************
void HAL_SAI_RxCpltCallback(SAI_HandleTypeDef *hsai_BlockB1)
// *****************************************************************************
// Description: Callback for full buffer completion
// Parameters: i2s handle
// Returns: nothing
// *****************************************************************************
{
    // HAL_GPIO_TogglePin(LED_GREEN_GPIO_Port, LED_GREEN_Pin);
    if (EMPTY == inputBufCplt) inputBufCplt = FULL;
    else cpuOverload = 1;
}

// *****************************************************************************
void HAL_UARTEx_RxEventCallback(UART_HandleTypeDef *huart,
                               uint16_t receivedBytes)
// *****************************************************************************
// Description: Callback for UART RX
// Parameters:
//   *huart: UART handler.
//   receivedBytes: amount of bytes in the received frame.
// Returns: nothing
// *****************************************************************************
{
  uartRxCpltFlag = FINISHED;
}

// *****************************************************************************
void HAL_UART_TxCpltCallback(UART_HandleTypeDef *huart)
// *****************************************************************************
// Description: Callback for UART TX
// Parameters:
//   *huart: UART handler.
// Returns: Nothing.
// *****************************************************************************
{
  uartTxCpltFlag = FINISHED;
}

// *****************************************************************************
static tErrorCode AppInit(void)
// *****************************************************************************
// Description: Initializes logic variables and structure values with 0
// Parameters: none
// Returns: Error code
// *****************************************************************************
{
  uint16_t i, j;

  for (i = 0; i<MAX_FILTERS; i++)
  {
    // Init delayed samples for f32
    for (j = 0; j < 2; j++) IIRf32[i].delays[j] = 0;
    // Init biquad coeffs for f32
    for (j = 0; j < 5; j++) IIRf32[i].coeffs[j] = 0;
    arm_biquad_cascade_df2T_init_f32(insIIRf32, 1, IIRf32[i].coeffs,
                                     IIRf32[i].delays);

    // Init delayed samples for q15
    for (j = 0; j < 4; j++) IIRq15[i].delays[j] = 0;
    // Init biquad coeffs for q15
    for (j = 0; j < 6; j++) IIRq15[i].coeffs[j] = 0;
    arm_biquad_cascade_df1_init_q15(insIIRq15, 1, IIRq15[i].coeffs,
                                    IIRq15[i].delays, 0);

    // Init delayed samples for q31
    for (j = 0; j < 4; j++) IIRq31[i].delays[j] = 0;
    // Init biquad coeffs for q31
    for (j = 0; j < 5; j++) IIRq31[i].coeffs[j] = 0;
    arm_biquad_cascade_df1_init_q31(insIIRq31, 1, IIRq31[i].coeffs,
                                    IIRq31[i].delays, 0);

    // Init channel routing
    IIRf32[i].channel = CHANNEL_NONE;
    IIRq15[i].channel = CHANNEL_NONE;
    IIRq15[i].channel = CHANNEL_NONE;
    FIRf32[i].channel = CHANNEL_NONE;
    FIRq15[i].channel = CHANNEL_NONE;

    filterConfig[i].channel = CHANNEL_NONE;
    filterConfig[i].gain = 0;
    normGain[i].f32 = 0;
    normGain[i].q31 = 0;
    normGain[i].q15 = 0;
  }

  // Init convolution channels
  for (i = 0; i < MAX_CONV; i++) convq15[i].channel = CHANNEL_NONE;

  if (RES_OK != DSP_UpdateIIRs(filterConfig, IIRf32, IIRq15, IIRq31,
  insIIRf32, insIIRq15, insIIRq31, normGain))
  {appError = ERROR_CODE_15; return RES_ERROR;}

  if (RES_OK != DSP_UpdateFIRInstances(filterConfig, FIRf32, FIRq15, insFIRf32,
                insFIRq15))
  {appError = ERROR_CODE_16; return RES_ERROR;}

  if (RES_OK != DSP_UpdateConvolutionInstances(convq15))
  {appError = ERROR_CODE_16; return RES_ERROR;}

  if (RES_OK != CheckParams())
  {appError = ERROR_CODE_17; return RES_ERROR;}

  // Initialize UART FSM
  uartSt = IDLE;
  uartRxCpltFlag = WAITING;
  uartTxCpltFlag = FINISHED;

  return RES_OK;
}

// *****************************************************************************
static tErrorCode CheckParams(void)
// *****************************************************************************
// Description: Checks system configuration to ensure compatibility
// Parameters: None.
// Returns: Error code.
// *****************************************************************************
{
  if ((4 < OUTPUT_QUANTITY) || (0 > OUTPUT_QUANTITY)) return RES_ERROR_PARAM;
  if ((4 < INPUT_QUANTITY) || (0 > INPUT_QUANTITY)) return RES_ERROR_PARAM;
  if (0 != (BUFFER_SIZE % 8)) return RES_ERROR_PARAM; // Must be a multiple of 8

  return RES_OK;
}

// *****************************************************************************
static tErrorCode NormalizeChannels(void *inBuf, tGain *gain,
                                    tArithmetic bufType)
// *****************************************************************************
// Description: Normalizes all channels with their corresponding gain to avoid
// filter saturation.
// Parameters:
// Returns:
// *****************************************************************************
{
  if ((NULL == inBuf) || (NULL == gain))
  {appError = ERROR_CODE_12; return RES_ERROR_PARAM;}

  uint8_t i;
  size_t sizeDif = 0;

  switch (bufType)
  {
    case Q15:
      sizeDif = sizeof(int32_t)/sizeof(int16_t);
      for(i = CHANNEL_0; i < MAX_CHANNELS; i++)
      {
        if (SHRT_MAX == gain->q15) break;
        if (RES_OK != DSP_Gain_q15_arm((int16_t *)inBuf + (bufSize * i)
                      * sizeDif, gain->q15, gain->postShift, nSamples))
        {appError = ERROR_CODE_13; return RES_ERROR;}
      }
      break;

    case Q31:
      sizeDif = sizeof(int32_t)/sizeof(int32_t);
      for(i = CHANNEL_0; i < MAX_CHANNELS; i++)
      {
        if (LONG_MAX == gain->q31) break;
        if (RES_OK != DSP_Gain_q31_arm((int32_t *)inBuf + (bufSize * i)
                      * sizeDif, gain->q31, gain->postShift, nSamples))
        {appError = ERROR_CODE_13; return RES_ERROR;}
      }
      break;

    case F32:
      if ((float)1 == gain->f32) break;
      sizeDif = sizeof(int32_t)/sizeof(float);
      for(i = CHANNEL_0; i < MAX_CHANNELS; i++)
      {
        if (RES_OK != DSP_Gain_f32_arm((float *)inBuf + (bufSize * i)
                      * sizeDif, gain->f32, nSamples))
        {appError = ERROR_CODE_13; return RES_ERROR;}
      }
      break;

    default:
      appError = ERROR_CODE_12;
      return RES_ERROR_PARAM;
      break;

    gain++;
  }

  return RES_OK;
}

// *****************************************************************************
static tErrorCode ApplyFilters(void *inBuf, tFIRf32 *pFIRf32, tFIRq15 *pFIRq15,
                               arm_fir_instance_f32 *f, arm_fir_instance_q15 *g,
                               tIIRf32 *pIIRf32,
                               tIIRq15 *pIIRq15,
                               tIIRq31 *pIIRq31,
                               arm_biquad_cascade_df2T_instance_f32 *s,
                               arm_biquad_casd_df1_inst_q15 *q,
                               arm_biquad_casd_df1_inst_q31 *r,
                               tArithmetic bufType)
// *****************************************************************************
// Description: Processes multiple channels with desired filters and desired
// arithmetic.
// Parameters:
//   *inBuf: Pointer to the buffer storing all channels
//   *pIIRf32: Pointer to the F32 IIR filters
//   *pIIRq15: Pointer to the Q15 IIR filters
//   *inst131: Pointer to the Q31 IIR filters
//   *s: Pointer to the F32 IIR arm_math filter instances
//   *q: Pointer to the Q15 IIR arm_math filter instances
//   *r: Pointer to the Q31 IIR arm_math filter instances
//   nSamples: Number of array positions to be filtered
//   bufType: Type of aritmethic to use, must match the channel variable type
// Returns: error code
// *****************************************************************************
{
  if ((NULL == pIIRf32) || (NULL == pIIRq15) || (NULL == pIIRq31) ||
      (NULL == inBuf))
  {appError = ERROR_CODE_9; return RES_ERROR_PARAM;}

  uint8_t i;
  uint16_t filterChan = 0;
  size_t sizeDif = 0; // Difference between largest and used union member size

  switch (bufType)
  {
    case Q15:
      sizeDif = sizeof(int32_t)/sizeof(int16_t);
      for (i = CHANNEL_0; i < MAX_FILTERS; i++)
      {
        if (CHANNEL_NONE != pIIRq15->channel)
        {
          filterChan = pIIRq15->channel;
          #ifdef USE_LIBRARY
          if (RES_OK != DSP_IIR_q15_arm((int16_t *)inBuf +
                        (filterChan * bufSize) * sizeDif, nSamples, q))
          {appError = ERROR_CODE_10; return RES_ERROR;}
          #else
          if (RES_OK != DSP_IIR_q15((int16_t *)inBuf +
                        (filterChan * bufSize) * sizeDif, nSamples, pIIRq15))
          {appError = ERROR_CODE_10; return RES_ERROR;}
          #endif
        }
        if (CHANNEL_NONE != pFIRq15->channel)
        {
          filterChan = pFIRq15->channel;
          #ifdef USE_LIBRARY
          if (RES_OK != DSP_FIR_q15_arm((int16_t *)inBuf +
                        (filterChan * bufSize) * sizeDif, nSamples, g))
          {appError = ERROR_CODE_10; return RES_ERROR;}
          #else
          if (RES_OK != DSP_FIR_q15((int16_t *)inBuf +
                        (filterChan * bufSize) * sizeDif, nSamples, pFIRq15))
          {appError = ERROR_CODE_10; return RES_ERROR;}
          #endif
        }
        pIIRq15++;
        q++;
        pFIRq15++;
        g++;
      }
      break;

    case Q31:
      sizeDif = sizeof(int32_t)/sizeof(int32_t);
      for (i = 0; i < MAX_FILTERS; i++)
      {
        if (CHANNEL_NONE != pIIRq31->channel)
        {
          filterChan = pIIRq31->channel;
          #ifdef USE_LIBRARY
          if (RES_OK != DSP_IIR_q31_arm((int32_t *)inBuf + (filterChan *
                        bufSize) * sizeDif, nSamples, r))
          {appError = ERROR_CODE_10; return RES_ERROR;}
          #else
          if (RES_OK != DSP_IIR_q31((int32_t *)inBuf +
                        (filterChan * bufSize) * sizeDif, nSamples, pIIRq31))
          {appError = ERROR_CODE_10; return RES_ERROR;}
          #endif
        }
        r++;
        pIIRq31++;
      }
      break;

    case F32:
      sizeDif = sizeof(int32_t)/sizeof(float);
      for (i = 0; i < MAX_FILTERS; i++)
      {
        if (CHANNEL_NONE != pIIRf32->channel)
        {
          filterChan = pIIRf32->channel;
          #ifdef USE_LIBRARY
          if (RES_OK != DSP_IIR_f32_arm((float *)inBuf +
                        (filterChan * bufSize) * sizeDif, nSamples, s))
          {appError = ERROR_CODE_10; return RES_ERROR;}
          #else
          if (RES_OK != DSP_IIR_f32((float *)inBuf + (filterChan * bufSize)
                        * sizeDif, nSamples, pIIRf32))
          {appError = ERROR_CODE_10; return RES_ERROR;}
          #endif
        }
        if (CHANNEL_NONE != pFIRf32->channel)
        {
          filterChan = pFIRf32->channel;
          #ifdef USE_LIBRARY
          if (RES_OK != DSP_FIR_f32_arm((float *)inBuf +
                        (filterChan * bufSize) * sizeDif, nSamples, f))
          {appError = ERROR_CODE_10; return RES_ERROR;}
          #else
          if (RES_OK != DSP_FIR_f32((float *)inBuf + (filterChan * bufSize)
                        * sizeDif, nSamples, pFIRf32))
          {appError = ERROR_CODE_10; return RES_ERROR;}
          #endif
        }

        s++;
        pIIRf32++;
        f++;
        pFIRf32++;
      }
      break;

    default:
      appError = ERROR_CODE_9;
      return RES_ERROR_PARAM;
      break;
  }

  return RES_OK;
}

// *****************************************************************************
static tErrorCode ApplyConvolution(void *inBuf, tConvq15 *pConvq15,
                  tArithmetic bufType)
// *****************************************************************************
// Description: Applies convolution as configured.
// Parameters:
//   *inBuf: Pointer to audio input signal.
//   *pConvq15: Ponter to q15 convolution instance.
//   nSamples: Number of samples to process.
//   bufType: Type of arithmetic to be used.
// Returns: Error code.
// *****************************************************************************
{
  if ((NULL == pConvq15) || (NULL == inBuf))
  {appError = ERROR_CODE_18; return RES_ERROR_PARAM;}

  uint8_t i;
  uint16_t filterChan = 0;
  size_t sizeDif = 0; // Difference between largest and used union member size

  switch (bufType)
  {
    case Q15:
      sizeDif = sizeof(int32_t)/sizeof(int16_t);
      for (i = CHANNEL_0; i < MAX_CONV; i++)
      {
        if (CHANNEL_NONE != pConvq15->channel)
        {
          filterChan = pConvq15->channel;
          #ifdef USE_LIBRARY
          if (RES_OK != DSP_Convolution_q15_arm((int16_t *)inBuf +
                        (filterChan * bufSize) * sizeDif, nSamples, pConvq15))
          {appError = ERROR_CODE_19; return RES_ERROR;}
          #else
          if (RES_OK != DSP_Convolution_q15((int16_t *)inBuf +
                        (filterChan * bufSize) * sizeDif, nSamples, pConvq15))
          {appError = ERROR_CODE_10; return RES_ERROR;}
          #endif
        }
        pConvq15++;
      }
      break;

    case Q31:
      break;

    case F32:
      break;

    default:
      appError = ERROR_CODE_18;
      return RES_ERROR_PARAM;
      break;
  }

  return RES_OK;
}

// *****************************************************************************
static tErrorCode DecodeData(int32_t *inBuf, void *outBufL, void *outBufR,
                             tArithmetic bufType)
// *****************************************************************************
// Description: Decodes a buffer of PCM data from the PCM1808 ADC
// Parameters:
//   *inBuf: Pointer to the buffer containing stereo data sent by the ADC
//   *outBufL: Pointer to the buffer where the left channel data will be stored
//   *outBufR: Pointer to the buffer where the right channel data will be stored
//   nSamples: Number of samples of one mono channel
//   bufType: Type of arithmetic that will be used
// Returns: Error code
// *****************************************************************************
{
  if ((NULL == inBuf) || (NULL == outBufL) || (NULL == outBufR))
  {appError = ERROR_CODE_0; return RES_ERROR_PARAM;}

  uint16_t nSamples = BUF_HALF;
  uint16_t bufSize = BUFFER_SIZE;

  switch (bufType)
  {
    case Q15:
      if (RES_OK != DSP_Int32ToInt16(inBuf, bufSize))
      {appError = ERROR_CODE_1; return RES_ERROR;}

      if (RES_OK != DSP_DecodePCM_Int16(inBuf, (int16_t *)outBufL,
                    (int16_t *)outBufR, nSamples))
      {appError = ERROR_CODE_2; return RES_ERROR;}
      break;

    case Q31:
      if (RES_OK != DSP_DecodePCM_Int32(inBuf, (int32_t *)outBufL,
                    (int32_t *)outBufR, nSamples))
      {appError = ERROR_CODE_2; return RES_ERROR;}
      break;

    case F32:
      if (RES_OK != DSP_DecodePCM_Int32(inBuf, (int32_t *)outBufL,
                    (int32_t *)outBufR, nSamples))
      {appError = ERROR_CODE_2; return RES_ERROR;}

      if (RES_OK != DSP_q31_to_f32_arm((int32_t *)outBufL, (float *)outBufL,
                    nSamples))
      {appError = ERROR_CODE_3; return RES_ERROR;}
      if (RES_OK != DSP_q31_to_f32_arm((int32_t *)outBufR, (float *)outBufR,
                    nSamples))
      {appError = ERROR_CODE_4; return RES_ERROR;}
      break;

    default:
      appError = ERROR_CODE_0;
      return RES_ERROR_PARAM;
      break;
  }
  return RES_OK;
}

// *****************************************************************************
static tErrorCode EncodeData(void *inBufL, void *inBufR, int16_t *outBuf,
                             tArithmetic bufType)
// *****************************************************************************
// Description: Decodes a buffer of PCM data to the PCM5102 DAC
// Parameters:
//   *inBufL: Pointer to the buffer where the left channel data is stored
//   *inBufR: Pointer to the buffer where the right channel data is stored
//   *outBuf: Pointer to the buffer that will store stereo data for the DAC
//   bufType: Type of arithmetic that will be used
// Returns: Error code
// *****************************************************************************
{
  if ((NULL == outBuf) || (NULL == inBufL) || (NULL == inBufR))
  {appError = ERROR_CODE_5; return RES_ERROR_PARAM;}

  uint16_t nSamples = BUF_HALF;

  switch (bufType)
  {
    case Q15:
      break;

    case Q31:
      if (RES_OK != DSP_q31_to_q15_arm((int32_t *)inBufL, (int16_t *)inBufL,
                    nSamples))
      {appError = ERROR_CODE_7; return RES_ERROR;}
      if (RES_OK != DSP_q31_to_q15_arm((int32_t *)inBufR, (int16_t *)inBufR,
                    nSamples))
      {appError = ERROR_CODE_8; return RES_ERROR;}
      break;

    case F32:
      if (RES_OK != DSP_f32_to_q15_arm((float *)inBufL, (int16_t *)inBufL,
                    nSamples))
      {appError = ERROR_CODE_7; return RES_ERROR;}
      if (RES_OK != DSP_f32_to_q15_arm((float *)inBufR, (int16_t *)inBufR,
                    nSamples))
      {appError = ERROR_CODE_8; return RES_ERROR;}
      break;

    default:
      appError = ERROR_CODE_5;
      return RES_ERROR_PARAM;
      break;
  }

  if (RES_OK != DSP_EncodePCM(outBuf, (int16_t *)inBufL, (int16_t *)inBufR,
                nSamples))
  {appError = ERROR_CODE_6; return RES_ERROR;}

  return RES_OK;
}

// *****************************************************************************
static tErrorCode ProcessData(void)
// *****************************************************************************
// Description: Processsing function. FSM managing application functions.
// Parameters: None.
// Returns: Error code.
// *****************************************************************************
{
  switch (inputBufCplt)
  {
    case EMPTY: // Buffer still receiving data
      return RES_OK;

    case HALF_FULL: // Buffer half full, process first half
      hlptim2.Instance->CR |= LPTIM_CR_COUNTRST_Msk;

      // Decode INPUT0 from PCM
      if (RES_OK != DecodeData(&input[INPUT0][BUF_BEGIN],
                    &general[CHANNEL_0][BUF_BEGIN],
                    &general[CHANNEL_1][BUF_BEGIN],
                    Q15)) return RES_ERROR;

      // Decode INPUT1 from PCM
      if (RES_OK != DecodeData(&input[INPUT1][BUF_BEGIN],
                    &general[CHANNEL_2][BUF_BEGIN],
                    &general[CHANNEL_3][BUF_BEGIN],
                    Q15)) return RES_ERROR;

      // Normalize channels
      if (RES_OK != NormalizeChannels(&general[CHANNEL_0][BUF_BEGIN],
                                      &normGain[CHANNEL_0], Q15))
      {return RES_ERROR;}

      // Filter all channels
      if (RES_OK != ApplyFilters(&general[CHANNEL_0][BUF_BEGIN], FIRf32, FIRq15,
                    insFIRf32, insFIRq15, IIRf32, IIRq15, IIRq31, insIIRf32,
                    insIIRq15, insIIRq31, Q15))
      {return RES_ERROR;}

      // Apply convolution
      if (RES_OK != ApplyConvolution(&general[CHANNEL_0][BUF_BEGIN],
                    convq15, Q15))
      {return RES_ERROR;}

      // Dump and mix channels into CH0 and CH1
      if (RES_OK != DSP_SumChannel(&general[CHANNEL_0][BUF_BEGIN],
                   &general[CHANNEL_2][BUF_BEGIN], bufSize, Q15))
      {return RES_ERROR;}
      if (RES_OK != DSP_SumChannel(&general[CHANNEL_1][BUF_BEGIN],
                   &general[CHANNEL_3][BUF_BEGIN], bufSize, Q15))
      {return RES_ERROR;}

      // Encode CH0&1 to OUTPUT0
      if (RES_OK != EncodeData(&general[CHANNEL_0][BUF_BEGIN],
                    &general[CHANNEL_1][BUF_BEGIN], &output[OUTPUT0][BUF_BEGIN],
                    Q15))
      {return RES_ERROR;}
        break;

    case FULL: // Buffer full, process second half
      hlptim2.Instance->CR |= LPTIM_CR_COUNTRST_Msk;

      // Decode INPUT0 to CH 0&1
      if (RES_OK != DecodeData(&input[INPUT0][BUFFER_SIZE],
                    &general[CHANNEL_0][BUF_HALF],
                    &general[CHANNEL_1][BUF_HALF], Q15))
      {return RES_ERROR;}

      // Decode INPUT1 to CH2&3
      if (RES_OK != DecodeData(&input[INPUT1][BUFFER_SIZE],
                    &general[CHANNEL_2][BUF_HALF],
                    &general[CHANNEL_3][BUF_HALF], Q15))
      {return RES_ERROR;}

      // Normalize all channels
      if (RES_OK != NormalizeChannels(&general[CHANNEL_0][BUF_HALF],
                                      &normGain[CHANNEL_0], Q15))
      {return RES_ERROR;}

      // Filter all channels
      if (RES_OK != ApplyFilters(&general[CHANNEL_0][BUF_HALF], FIRf32, FIRq15,
                    insFIRf32, insFIRq15, IIRf32, IIRq15, IIRq31, insIIRf32,
                    insIIRq15, insIIRq31, Q15))
      {return RES_ERROR;}

      // Apply convolution
      if (RES_OK != ApplyConvolution(&general[CHANNEL_0][BUF_HALF],
                    convq15, Q15))
      {return RES_ERROR;}

      // Dump and mix channels into CH0 and CH1
      if (RES_OK != DSP_SumChannel(&general[CHANNEL_0][BUF_HALF],
                   &general[CHANNEL_2][BUF_HALF], bufSize, Q15))
      {return RES_ERROR;}
      if (RES_OK != DSP_SumChannel(&general[CHANNEL_1][BUF_HALF],
                   &general[CHANNEL_3][BUF_HALF], bufSize, Q15))
      {return RES_ERROR;}

      // Encode CH0&1 to OUTPUT0
      if (RES_OK != EncodeData(&general[CHANNEL_0][BUF_HALF],
                    &general[CHANNEL_1][BUF_HALF], &output[OUTPUT0][BUFFER_SIZE],
                    Q15))
      {return RES_ERROR;}
        break;

    default:
      appError = ERROR_CODE_14;
      return RES_ERROR;
  }

  SCB_CleanInvalidateDCache();
  healthCheckCounter++;
  timerCount = hlptim2.Instance->CNT;
  cpuUsage = 100.0 * ((float)timerCount / (float)(BUF_HALF * TIMER_RES));
  inputBufCplt = EMPTY;
  return RES_OK;
}

// *****************************************************************************
static tErrorCode CheckConfig(void)
// *****************************************************************************
// Description: Checks if filter config changed and configures filters if true
// Parameters: None.
// Returns: Error code.
// *****************************************************************************
{
  switch (filterConfigFlag)
  {
    case 0:
      break;

    case 1:
      if (RES_OK != DSP_UpdateIIRs(filterConfig, IIRf32, IIRq15, IIRq31,
                    insIIRf32, insIIRq15, insIIRq31, normGain))
      {appError = ERROR_CODE_15; return RES_ERROR;}

      if (RES_OK != DSP_UpdateFIRInstances(filterConfig, FIRf32, FIRq15,
                    insFIRf32, insFIRq15))
      {appError = ERROR_CODE_16; return RES_ERROR;}

      if (RES_OK != CheckParams())
      {appError = ERROR_CODE_17; return RES_ERROR;}
      filterConfigFlag = 0;
      break;

    default:
      return RES_ERROR;
      break;
  }

  return RES_OK;
}

// *****************************************************************************
tErrorCode ManageUART(void)
// *****************************************************************************
// Description: Manages the UART RX/TX actions.
// Parameters: None.
// Returns: Error code.
// *****************************************************************************
{
  switch (uartFSM)
  {
    case WAIT_RX: //****************** WAIT FOR RX *****************************
      if (FINISHED == uartRxCpltFlag) // RX Interrupt triggered
      {
        if (RES_OK != BT_GetUartSt(&huart9, &uartSt)) // wait for hardware idle
        {
          appError = ERROR_CODE_20;
          return RES_ERROR;
        }
        if (IDLE == uartSt) // NEXT STATE & RESET RX FLAG
        {
          uartRxCpltFlag = WAITING;
          uartFSM = NEW_MSG;
        }
      }
      break;

    case NEW_MSG: //************* RX INTERRUPT OCCURRED ************************
      if (RES_OK != BT_GetStart(uartRx, &(msg.len), &(msg.command))) // Parse start
      {
        if (RES_OK != BT_Send_RxFail(uartTx)) return RES_ERROR; // Incorrect start
      }
      else // Correct start
      {
        if (RES_OK != BT_ParseMsg(uartRx, uartTx, msg.len, msg.command,
                      filterConfig, &filterConfigFlag)) return RES_ERROR;
        if (RES_OK != BT_Send_Ack(uartTx)) return RES_ERROR;
      }
      // NEXT STATE & ENABLE TX INTERRUPT
      uartFSM = SENDING;
      uartTxCpltFlag = WAITING;
      if (HAL_OK != HAL_UART_Transmit_IT(&huart9, (uint8_t *)uartTx, uartTx[0]))
      {
        appError = ERROR_CODE_21;
        return RES_ERROR;
      }
      break;

    case SENDING: //************ SEND RESPONSE *********************************
      if (FINISHED == uartTxCpltFlag)  //TX interrupt triggered
      {
        if (RES_OK != BT_GetUartSt(&huart9, &uartSt)) // wait for hardware idle
        {
          appError = ERROR_CODE_22;
          return RES_ERROR;
        }
        if (IDLE == uartSt)
        {
          if (HAL_OK != HAL_UARTEx_ReceiveToIdle_IT(&huart9, (uint8_t*)pUartRx,
                                           UART_CHUNK_SIZE))
          {
            appError = ERROR_CODE_23; // UART HW STATUS ERROR, 2MANY MSGs
            return RES_ERROR;
          }
          else uartFSM = IDLE; // Go to idle state
        }
      }
      break;

    default: // UNKNOWN FSM STATE
      appError = ERROR_CODE_24;
      return RES_ERROR;
  }
  return RES_OK;
}

// *****************************************************************************
static tErrorCode CheckSysHealth(void)
// *****************************************************************************
// Description: Checks app variables to prevent reching limits. (CPU, Volume...)
// Parameters: None.
// Returns: Error code.
// *****************************************************************************
{
  if (HEALTH_CHECK_PERIOD > healthCheckCounter) return RES_OK;
  else if (HEALTH_CHECK_PERIOD < healthCheckCounter) return RES_ERROR;

  cpuOverload = 0; //Reset CPU Overload flag
  healthCheckCounter = 0; // Reset counter

  return RES_OK;
}

// *****************************************************************************
static void CacheInit(void)
// *****************************************************************************
// Description: Initializes caches.
// Parameters: None.
// Returns: Nothing.
// *****************************************************************************
{
  SCB_InvalidateICache();
  SCB_EnableICache();
  SCB_EnableDCache();
}

/* USER CODE END 4 */

void Error_Handler(void)
{
  __disable_irq();
  while (1)
  {
  }
}
